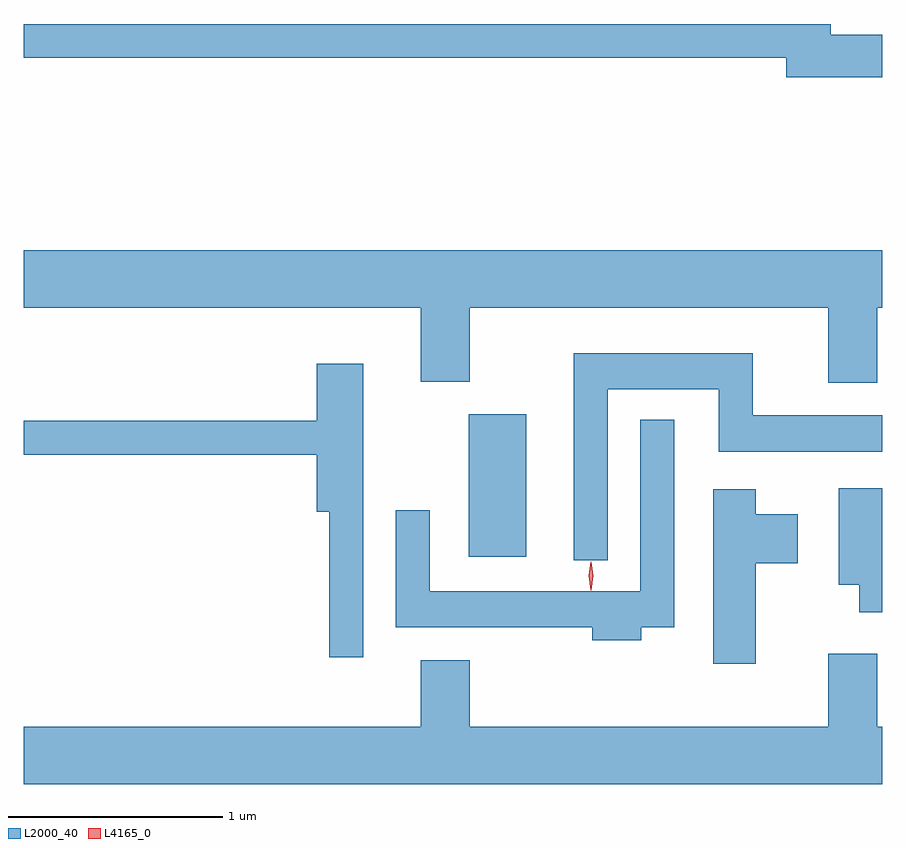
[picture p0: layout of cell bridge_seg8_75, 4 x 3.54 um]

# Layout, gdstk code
import gdstk
lib = gdstk.Library(unit=1e-6, precision=1e-09)
def R(c, l, rs):  # rectangles x0, y0, x1, y1
    for r in rs: c.add(gdstk.rectangle(r[:2], r[2:], *l))
def P(c, l, *ps):  # polygons
    for p in ps: c.add(gdstk.Polygon(p, *l))
L2000_40 = (2000, 40)
L4165_0 = (4165, 0)

bridge_seg8_75 = lib.new_cell('bridge_seg8_75')
R(bridge_seg8_75, L2000_40, [(1597.586,1815.276,1597.854,1815.939)])
P(bridge_seg8_75, L2000_40, [(1599.512,1817.709),(1599.274,1817.709),(1599.274,1817.759),(1595.512,1817.759),(1595.512,1817.601),(1599.066,1817.601),(1599.066,1817.511),(1599.512,1817.511)],
  [(1599.489,1816.436),(1599.512,1816.436),(1599.512,1816.704),(1595.512,1816.704),(1595.512,1816.436),(1597.361,1816.436),(1597.361,1816.091),(1597.589,1816.091),(1597.589,1816.436),(1599.261,1816.436),(1599.261,1816.086),(1599.489,1816.086)],
  [(1598.234,1816.056),(1598.751,1816.056),(1598.751,1815.766),(1599.512,1815.766),(1599.512,1815.934),(1598.909,1815.934),(1598.909,1816.224),(1598.076,1816.224),(1598.076,1815.258),(1598.234,1815.258)],
  [(1597.094,1816.174),(1596.876,1816.174),(1596.876,1815.909),(1595.512,1815.909),(1595.512,1815.751),(1596.876,1815.751),(1596.876,1815.486),(1596.936,1815.486),(1596.936,1814.808),(1597.094,1814.808)],
  [(1598.389,1814.946),(1598.544,1814.946),(1598.544,1815.913),(1598.386,1815.913),(1598.386,1815.114),(1597.404,1815.114),(1597.404,1815.493),(1597.246,1815.493),(1597.246,1814.946),(1598.161,1814.946),(1598.161,1814.886),(1598.389,1814.886)],
  [(1599.512,1815.594),(1599.311,1815.594),(1599.311,1815.146),(1599.406,1815.146),(1599.406,1815.016),(1599.512,1815.016)],
  [(1598.924,1815.246),(1599.119,1815.246),(1599.119,1815.474),(1598.924,1815.474),(1598.924,1815.589),(1598.726,1815.589),(1598.726,1814.776),(1598.924,1814.776)],
  [(1599.512,1814.484),(1599.489,1814.484),(1599.489,1814.824),(1599.261,1814.824),(1599.261,1814.484),(1597.589,1814.484),(1597.589,1814.794),(1597.361,1814.794),(1597.361,1814.484),(1595.512,1814.484),(1595.512,1814.216),(1599.512,1814.216)])
P(bridge_seg8_75, L4165_0, [(1598.156,1815.119),(1598.155,1815.12),(1598.145,1815.186),(1598.154,1815.252),(1598.155,1815.253),(1598.156,1815.252),(1598.165,1815.186),(1598.156,1815.12)])

lib.write_gds('bridge_seg8_75.gds')
